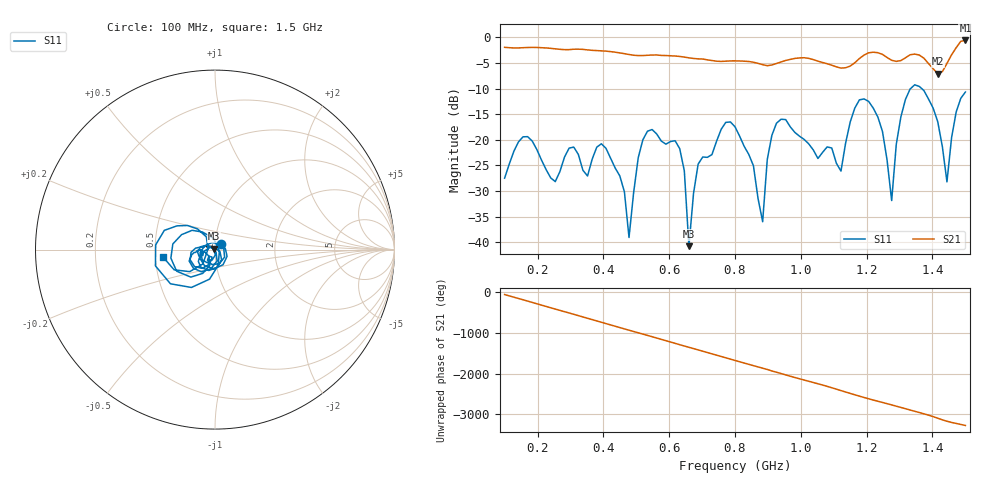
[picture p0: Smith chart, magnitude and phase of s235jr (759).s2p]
! NanoVNA-App
! Date: 2025-09-25 15:10:05
! Start: 100MHz Stop: 1,5GHz Points: 101
! S-Parameter data: F S11 S21 S12 S22
# Hz S RI R 50
!  Frequency  S11_Real  S11_Imag  S21_Real  S21_Imag  S12_Real  S12_Imag  S22_Real  S22_Imag
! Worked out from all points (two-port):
!   101 points, 100 MHz to 1.5 GHz, reference 50 ohm
!   highest |S21| = -0.63 dB at 1.5 GHz (marker M1); lowest = -7.1 dB at 1.416 GHz (marker M2)
!   |S21| within 3 dB of the highest: start of sweep to 607.7 MHz; 1.189 GHz to 1.255 GHz (65.71 MHz wide, 5.38 % of centre)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
!   lowest |S11| = -40.7 dB at 660 MHz (marker M3), VSWR 1.02, Z = 49.3 + j0.549 ohm
!   |S11| at or under -10 dB: start of sweep to 1.334 GHz; 1.367 GHz to end of sweep
!   S12 and S22 are empty: the file has one direction only
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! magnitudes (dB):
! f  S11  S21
! 100 MHz  -27.5  -2.0
! 156 MHz  -19.4  -2.0
! 338 MHz  -25.9  -2.4
! 408 MHz  -21.7  -2.7
! 478 MHz  -39.0  -3.4
! 520 MHz  -20.0  -3.6
! 576 MHz  -20.2  -3.5
! 632 MHz  -21.7  -3.7
! 660 MHz  -40.7  -4.0
! 688 MHz  -24.7  -4.2
! 800 MHz  -17.4  -4.6
! 884 MHz  -36.0  -5.3
! 926 MHz  -16.8  -5.1
! 1.038 GHz  -22.0  -4.4
! 1.122 GHz  -26.1  -6.0
! 1.206 GHz  -12.5  -3.0
! 1.248 GHz  -18.3  -3.3
! 1.276 GHz  -31.8  -4.5
! 1.332 GHz  -10.1  -3.4
! 1.416 GHz  -16.5  -7.1
! 1.444 GHz  -28.2  -5.1
! 1.5 GHz  -10.7  -0.6
